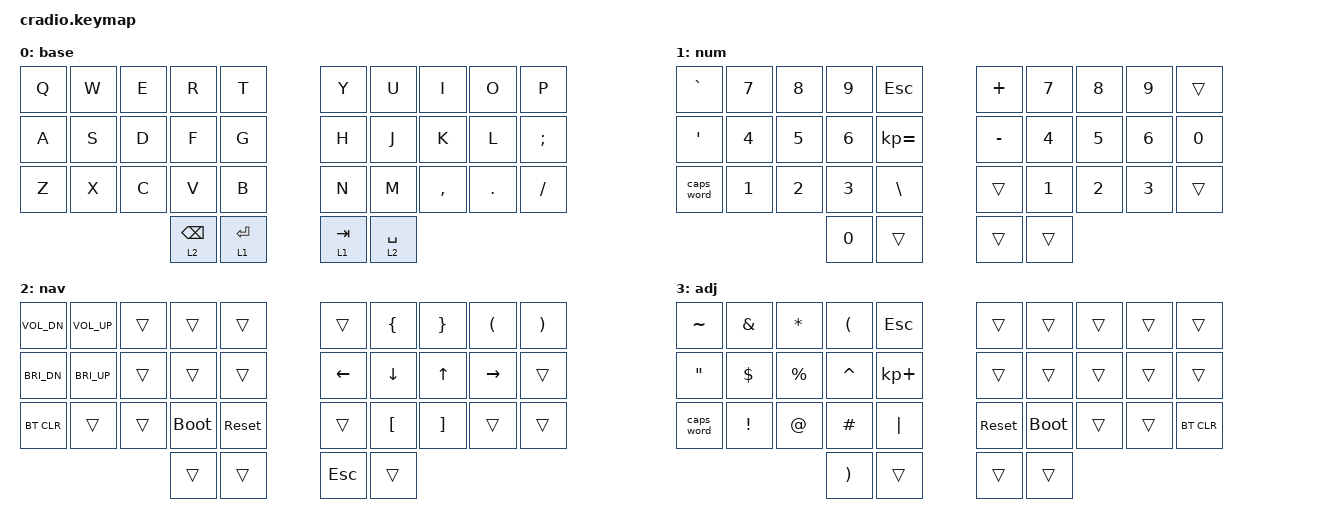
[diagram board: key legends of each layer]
/*
* Copyright (c) 2020 The ZMK Contributors
*
* SPDX-License-Identifier: MIT
*/

#include <behaviors.dtsi>
#include <dt-bindings/zmk/bt.h>
#include <dt-bindings/zmk/keys.h>

#define WORKMAN 0
#define NAV 1
#define NUM 2
#define SYM 3
#define UC 4
#define QWERTY 5

&mt {
    flavor = "tap-preferred";
    tapping_term_ms = <165>;
};

/ {
    /*
        0  1  2  3  4       5  6  7  8  9
        10 11 12 13 14      15 16 17 18 19
        20 21 22 23 24      25 26 27 28 29
                 30 31      32 33

    */

    combos {
        compatible = "zmk,combos";

        combo_esc {
            timeout-ms = <100>;
            key-positions = <0 1>;
            bindings = <&kp ESC>;
        };

        combo_eql {
            timeout-ms = <100>;
            key-positions = <8 9>;
            bindings = <&kp EQL>;
        };

        combo_sqt {
            timeout-ms = <20>;
            key-positions = <7 8>;
            bindings = <&kp SQT>;
        };

        combo_hyphen {
            timeout-ms = <20>;
            key-positions = <6 7>;
            bindings = <&kp MINUS>;
        };

        combo_qwerty {
            timeout-ms = <100>;
            key-positions = <9 19 29>;
            bindings = <&tog 0>;
        };

        combo_b {
            timeout-ms = <100>;
            key-positions = <2 3>;
            bindings = <&kp B>;
        };
    };

    macros {
        uc_dash: uc_dash {
            label = "UNICODE_DASH";
            compatible = "zmk,behavior-macro";
            #binding-cells = <0>;
            tap-ms = <0>;
            wait-ms = <0>;
            bindings =
                <&macro_press>,
                <&kp LCTRL &kp LSHFT>,
                <&macro_tap>,
                <&kp U>,
                <&macro_release>,
                <&kp LCTRL &kp LSHFT>,
                <&macro_tap>,
                <&kp N2 &kp N0 &kp N1 &kp N4 &kp SPC>;
        };
    };

    keymap {
        compatible = "zmk,keymap";

        base {
            bindings = <
&kp Q  &kp W  &kp E  &kp R            &kp T          &kp Y      &kp U        &kp I      &kp O    &kp P
&kp A  &kp S  &kp D  &kp F            &kp G          &kp H      &kp J        &kp K      &kp L    &kp SEMI
&kp Z  &kp X  &kp C  &kp V            &kp B          &kp N      &kp M        &kp COMMA  &kp DOT  &kp FSLH
                     &lt 2 BACKSPACE  &lt 1 ENTER    &lt 1 TAB  &lt 2 SPACE
            >;
        };

        num {
            bindings = <
&kp GRAVE   &kp N7  &kp N8  &kp N9  &kp ESC         &kp PLUS   &kp N7  &kp N8  &kp N9  &trans
&kp SQT     &kp N4  &kp N5  &kp N6  &kp KP_EQUAL    &kp MINUS  &kp N4  &kp N5  &kp N6  &kp N0
&caps_word  &kp N1  &kp N2  &kp N3  &kp BSLH        &trans     &kp N1  &kp N2  &kp N3  &trans
                            &kp N0  &trans          &trans     &trans
            >;
        };

        nav {
            bindings = <
&kp C_VOL_DN  &kp C_VOL_UP  &trans  &trans       &trans        &trans    &kp LBRC  &kp RBRC  &kp LPAR   &kp RPAR
&kp C_BRI_DN  &kp C_BRI_UP  &trans  &trans       &trans        &kp LEFT  &kp DOWN  &kp UP    &kp RIGHT  &trans
&bt BT_CLR    &trans        &trans  &bootloader  &sys_reset    &trans    &kp LBKT  &kp RBKT  &trans     &trans
                                    &trans       &trans        &kp ESC   &trans
            >;
        };

        adj {
            bindings = <
&kp TILDE   &kp AMPS  &kp STAR   &kp LPAR   &kp ESC        &trans      &trans       &trans  &trans  &trans
&kp DQT     &kp DLLR  &kp PRCNT  &kp CARET  &kp KP_PLUS    &trans      &trans       &trans  &trans  &trans
&caps_word  &kp EXCL  &kp AT     &kp HASH   &kp PIPE       &sys_reset  &bootloader  &trans  &trans  &bt BT_CLR
                                 &kp RPAR   &trans         &trans      &trans
            >;
        };
    };
};
